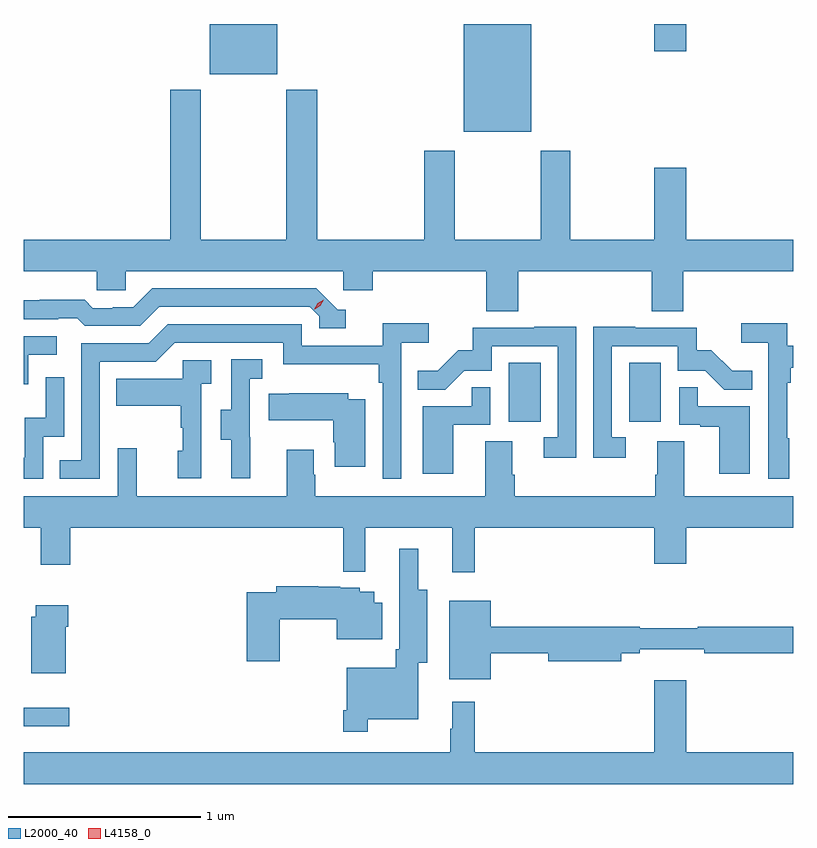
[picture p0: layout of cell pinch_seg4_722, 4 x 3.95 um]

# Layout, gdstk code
import gdstk
lib = gdstk.Library(unit=1e-6, precision=1e-09)
def R(c, l, rs):  # rectangles x0, y0, x1, y1
    for r in rs: c.add(gdstk.rectangle(r[:2], r[2:], *l))
def P(c, l, *ps):  # polygons
    for p in ps: c.add(gdstk.Polygon(p, *l))
L2000_40 = (2000, 40)
L4158_0 = (4158, 0)

pinch_seg4_722 = lib.new_cell('pinch_seg4_722')
R(pinch_seg4_722, L2000_40, [(833.058,810.44,833.296,810.537), (835.58,812.022,835.744,812.329), (836.204,812.022,836.368,812.329), (835.346,813.53,835.696,814.089), (834.026,813.827,834.376,814.089), (836.336,813.948,836.5,814.089)])
P(pinch_seg4_722, L2000_40, [(833.819,813.748),(833.819,812.968),(833.058,812.968),(833.058,812.804),(833.439,812.804),(833.439,812.706),(833.589,812.706),(833.589,812.804),(834.72,812.804),(834.72,812.706),(834.872,812.706),(834.872,812.804),(835.463,812.804),(835.463,812.596),(835.628,812.596),(835.628,812.804),(836.321,812.804),(836.321,812.596),(836.486,812.596),(836.486,812.804),(837.058,812.804),(837.058,812.968),(836.5,812.968),(836.5,813.343),(836.336,813.343),(836.336,812.968),(835.899,812.968),(835.899,813.43),(835.744,813.43),(835.744,812.968),(835.299,812.968),(835.299,813.43),(835.139,813.43),(835.139,812.968),(834.584,812.968),(834.584,813.748),(834.424,813.748),(834.424,812.968),(833.979,812.968),(833.979,813.748)],
  [(834.733,812.604),(834.69,812.604),(834.579,812.715),(833.726,812.715),(833.627,812.616),(833.52,812.616),(833.52,812.613),(833.417,812.613),(833.375,812.656),(833.142,812.656),(833.142,812.653),(833.058,812.653),(833.058,812.556),(833.237,812.556),(833.237,812.559),(833.336,812.559),(833.375,812.52),(833.664,812.52),(833.763,812.619),(834.546,812.619),(834.594,812.571),(834.594,812.508),(834.733,812.508)],
  [(833.454,812.334),(833.745,812.334),(833.844,812.433),(834.408,812.433),(834.408,812.321),(834.904,812.321),(834.904,812.225),(834.924,812.225),(834.924,811.725),(835.02,811.725),(835.02,812.432),(835.162,812.432),(835.162,812.534),(834.923,812.534),(834.923,812.418),(834.504,812.418),(834.504,812.529),(833.807,812.529),(833.708,812.43),(833.358,812.43),(833.358,811.821),(833.245,811.821),(833.245,811.725),(833.454,811.725)],
  [(837.037,811.937),(837.025,811.937),(837.025,812.225),(837.044,812.225),(837.044,812.302),(837.058,812.302),(837.058,812.418),(837.026,812.418),(837.026,812.534),(836.787,812.534),(836.787,812.432),(836.928,812.432),(836.928,811.725),(837.037,811.725)],
  [(836.188,811.941),(836.115,811.941),(836.115,812.415),(836.457,812.415),(836.457,812.286),(836.601,812.286),(836.699,812.188),(836.843,812.188),(836.843,812.287),(836.739,812.287),(836.632,812.394),(836.556,812.394),(836.556,812.511),(836.237,812.511),(836.237,812.516),(836.019,812.516),(836.019,811.836),(836.188,811.836)],
  [(835.929,812.516),(835.711,812.516),(835.711,812.511),(835.393,812.511),(835.393,812.394),(835.316,812.394),(835.209,812.287),(835.105,812.287),(835.105,812.188),(835.249,812.188),(835.347,812.286),(835.491,812.286),(835.491,812.415),(835.833,812.415),(835.833,811.941),(835.761,811.941),(835.761,811.836),(835.929,811.836)],
  [(833.082,812.37),(833.23,812.37),(833.23,812.466),(833.058,812.466),(833.058,812.217),(833.082,812.217)],
  [(834.236,811.941),(834.234,811.941),(834.234,812.245),(834.298,812.245),(834.298,812.348),(834.138,812.348),(834.138,812.085),(834.083,812.085),(834.083,811.93),(834.137,811.93),(834.137,811.728),(834.236,811.728)],
  [(833.982,812.219),(834.034,812.219),(834.034,812.343),(833.886,812.343),(833.886,812.245),(833.539,812.245),(833.539,812.105),(833.874,812.105),(833.874,811.991),(833.884,811.991),(833.884,811.872),(833.858,811.872),(833.858,811.728),(833.982,811.728)],
  [(833.16,811.944),(833.268,811.944),(833.268,812.254),(833.172,812.254),(833.172,812.042),(833.063,812.042),(833.063,811.834),(833.058,811.834),(833.058,811.725),(833.16,811.725)],
  [(835.291,812.007),(835.482,812.007),(835.482,812.201),(835.387,812.201),(835.387,812.103),(835.133,812.103),(835.133,811.752),(835.291,811.752)],
  [(836.83,812.103),(836.561,812.103),(836.561,812.201),(836.466,812.201),(836.466,812.007),(836.573,812.007),(836.573,811.995),(836.672,811.995),(836.672,811.752),(836.83,811.752)],
  [(834.832,812.14),(834.745,812.14),(834.745,812.17),(834.439,812.17),(834.439,812.167),(834.331,812.167),(834.331,812.03),(834.667,812.03),(834.667,811.917),(834.674,811.917),(834.674,811.788),(834.832,811.788)],
  [(835.403,811.472),(836.336,811.472),(836.336,811.284),(836.5,811.284),(836.5,811.472),(837.058,811.472),(837.058,811.636),(836.491,811.636),(836.491,811.922),(836.351,811.922),(836.351,811.748),(836.339,811.748),(836.339,811.636),(835.61,811.636),(835.61,811.748),(835.597,811.748),(835.597,811.922),(835.457,811.922),(835.457,811.636),(834.573,811.636),(834.573,811.748),(834.565,811.748),(834.565,811.876),(834.425,811.876),(834.425,811.636),(833.645,811.636),(833.645,811.885),(833.547,811.885),(833.547,811.636),(833.058,811.636),(833.058,811.472),(833.147,811.472),(833.147,811.278),(833.3,811.278),(833.3,811.472),(834.719,811.472),(834.719,811.244),(834.833,811.244),(834.833,811.472),(835.286,811.472),(835.286,811.239),(835.403,811.239)],
  [(834.847,810.476),(835.108,810.476),(835.108,810.77),(835.156,810.77),(835.156,811.15),(835.109,811.15),(835.109,811.363),(835.01,811.363),(835.01,810.841),(834.991,810.841),(834.991,810.745),(834.738,810.745),(834.738,810.523),(834.718,810.523),(834.718,810.411),(834.847,810.411)],
  [(834.388,810.995),(834.686,810.995),(834.686,810.893),(834.922,810.893),(834.922,811.081),(834.88,811.081),(834.88,811.138),(834.804,811.138),(834.804,811.159),(834.704,811.159),(834.704,811.164),(834.59,811.164),(834.59,811.167),(834.371,811.167),(834.371,811.137),(834.218,811.137),(834.218,810.777),(834.388,810.777)],
  [(835.486,810.82),(835.784,810.82),(835.784,810.778),(836.164,810.778),(836.164,810.82),(836.26,810.82),(836.26,810.839),(836.596,810.839),(836.596,810.82),(837.058,810.82),(837.058,810.956),(836.56,810.956),(836.56,810.949),(836.26,810.949),(836.26,810.956),(835.486,810.956),(835.486,811.093),(835.271,811.093),(835.271,810.683),(835.486,810.683)],
  [(833.278,810.956),(833.291,810.956),(833.291,811.069),(833.12,811.069),(833.12,811.008),(833.099,811.008),(833.099,810.716),(833.278,810.716)],
  [(837.058,810.304),(836.5,810.304),(836.5,810.679),(836.336,810.679),(836.336,810.304),(835.403,810.304),(835.403,810.568),(835.286,810.568),(835.286,810.428),(835.275,810.428),(835.275,810.304),(833.058,810.304),(833.058,810.14),(837.058,810.14)])
P(pinch_seg4_722, L4158_0, [(834.569,812.606),(834.569,812.606),(834.586,812.638),(834.617,812.657),(834.617,812.657),(834.617,812.657),(834.6,812.625),(834.57,812.606)])

lib.write_gds('pinch_seg4_722.gds')
